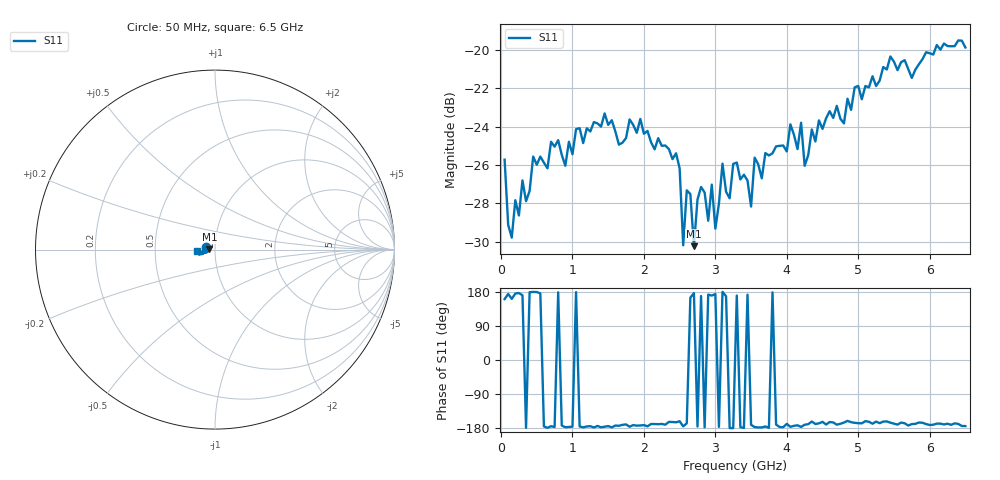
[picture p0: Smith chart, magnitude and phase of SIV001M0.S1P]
! (c) 1999  Infineon Technologies AG, Munich
! Infineon Technologies  Discrete & RF Semiconductors
! BAT24-02LS
! Si Schottky Diode in TSSLP-2
! IF = 1 mA
! S-Parameters:  July  2007
# GHz  S  MA  R  50
!  f  S11
! GHz  MAG  ANG
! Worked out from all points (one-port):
!   130 points, 50 MHz to 6.5 GHz, reference 50 ohm
!   lowest |S11| = -30.2 dB at 2.7 GHz (marker M1), VSWR 1.06, Z = 47 + j0.177 ohm
!   |S11| at or under -10 dB: start of sweep to end of sweep
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0.05  0.05177 160.7
0.1  0.03501 174.2
0.15  0.03242 161.3
0.45  0.05276 179.6
0.9  0.04992 -177.5
1.45  0.06835 -176.0
1.7  0.05733 -171.1
1.95  0.0661 -172.7
2.5  0.04915 -161.6
2.55  0.03096 -175.1
2.6  0.04307 -167.1
2.7  0.0308 176.5
2.8  0.04395 168.8
2.9  0.03589 172.6
2.95  0.04457 170.0
3  0.03423 173.9
3.1  0.05055 179.8
3.2  0.04106 -179.5
3.3  0.05089 170.1
3.5  0.03908 -171.0
3.55  0.05241 -177.1
4.1  0.06015 -173.7
4.2  0.06462 -176.6
4.25  0.0499 -170.8
4.45  0.06555 -167.2
4.9  0.06983 -164.1
5.7  0.08919 -172.9
6.5  0.1015 -174.4
